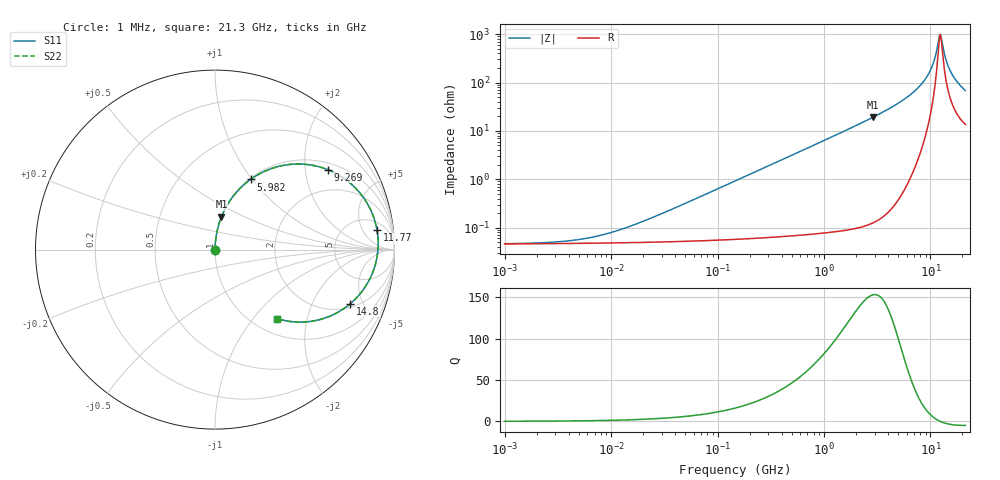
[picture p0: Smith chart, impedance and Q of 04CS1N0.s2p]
# MHz  S  MA  R  50
!Freq  MagS11  AngS11  MagS21  AngS21  MagS12  AngS12  MagS22  AngS22
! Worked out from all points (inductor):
!   1003 points, 1 MHz to 21.3 GHz, reference 50 ohm
!   read as one part in series: L = 1 nH near 23.91 MHz
!   highest Q = 153 at 2.865 GHz (marker M1), where L = 1.06 nH
!   self-resonance near 12.38 GHz
!   S11 on the Smith chart (normalised r, x): 1 MHz: 1.00, +0.00; 5.982 GHz: 1.01, +0.98; 9.269 GHz: 1.21, +2.64; 11.77 GHz: 8, +10; 14.8 GHz: 2.26, -3.99; 21.3 GHz: 1.27, -1.34
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1  0.0004641 7.8  0.9995 -0.0  0.9995 -0.0  0.0004641 7.8
2.678033  0.0004956 19.8  0.9995 -0.0  0.9995 -0.0  0.0004956 19.8
5.268287  0.000577 35.0  0.9995 -0.0  0.9995 -0.0  0.000577 35.0
11.22261  0.0008546 55.5  0.9995 -0.0  0.9995 -0.0  0.0008546 55.5
27.75485  0.001814 73.8  0.9995 -0.1  0.9995 -0.1  0.001814 73.8
146.2205  0.009201 85.9  0.9994 -0.5  0.9994 -0.5  0.009201 85.9
770.3316  0.0485 86.4  0.9981 -2.8  0.9981 -2.8  0.0485 86.4
2864.831  0.1867 78.9  0.9812 -10.8  0.9812 -10.8  0.1867 78.9
4058.328  0.2743 73.7  0.9596 -15.9  0.9596 -15.9  0.2743 73.7
5982.472  0.4381 63.2  0.8923 -26.0  0.8923 -26.0  0.4381 63.2
7520.943  0.5913 52.0  0.7882 -36.2  0.7882 -36.2  0.5913 52.0
9268.749  0.7697 35.4  0.5809 -50.1  0.5809 -50.1  0.7697 35.4
10036.73  0.8349 26.9  0.4558 -55.9  0.4558 -55.9  0.8349 26.9
10654.19  0.8745 19.7  0.3442 -59.1  0.3442 -59.1  0.8745 19.7
11197.66  0.8977 13.4  0.2432 -58.6  0.2432 -58.6  0.8977 13.4
11768.85  0.9092 6.8  0.1449 -47.9  0.1449 -47.9  0.9092 6.8
12246.71  0.9093 1.5  0.09396 -14.4  0.09396 -14.4  0.9093 1.5
12617.8  0.9039 -2.5  0.1046 22.1  0.1046 22.1  0.9039 -2.5
13799.9  0.8629 -13.8  0.2624 51.8  0.2624 51.8  0.8629 -13.8
14795.37  0.8123 -21.7  0.3884 50.8  0.3884 50.8  0.8123 -21.7
17176.96  0.6839 -35.4  0.5937 41.8  0.5937 41.8  0.6839 -35.4
21300  0.5171 -48.0  0.7588 30.4  0.7588 30.4  0.5171 -48.0
